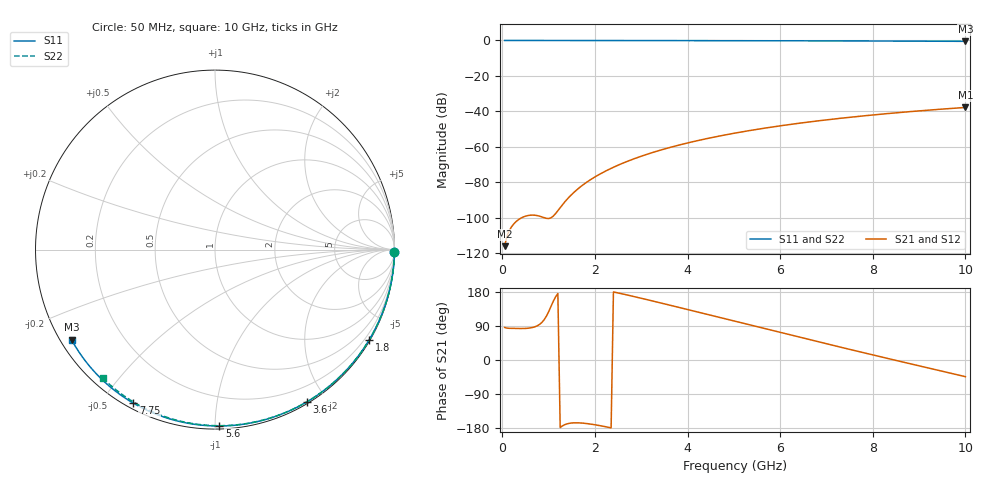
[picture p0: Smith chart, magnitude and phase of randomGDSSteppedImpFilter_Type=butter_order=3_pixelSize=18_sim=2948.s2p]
! freq	dB(S11)	phase(S11)	dB(S12)	phase(S12)
!  dB(S21)	phase(S21)	dB(S22)	phase(S22)
!S-par simulation data
#  GHz  S  DB  R 50
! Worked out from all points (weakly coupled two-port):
!   200 points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, 50 MHz to 10 GHz, reference 50 ohm
!   highest |S21| = -37.83 dB at 10 GHz (marker M1); lowest = -116.2 dB at 50 MHz (marker M2)
!   lowest |S11| = -0.5 dB at 10 GHz (marker M3), VSWR 34.65, Z = 1.56 - j14.4 ohm
!   |S11| at or under -10 dB: nowhere
!   |S22| runs from -0.4 to 0.0 dB; largest |S21 - S12| = 0
!   S11 on the Smith chart (normalised r, x): 50 MHz: open; 1.8 GHz: 0.03, -3.70; 3.6 GHz: 0.02, -1.77; 5.6 GHz: 0.02, -1.03; 7.75 GHz: 0.02, -0.60; 10 GHz: 0.03, -0.29
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0.05  -0.00 -0.9  -116.18 85.9  -116.18 85.9  -0.00 -0.8
0.45  -0.01 -7.7  -99.73 83.1  -99.73 83.1  -0.01 -6.8
0.9  -0.02 -15.3  -100.08 105.6  -100.08 105.6  -0.02 -13.6
1.75  -0.04 -29.4  -81.42 -166.7  -81.42 -166.7  -0.03 -26.1
1.8  -0.04 -30.2  -80.47 -167.4  -80.47 -167.4  -0.03 -26.9
1.85  -0.04 -31.0  -79.57 -168.1  -79.57 -168.1  -0.04 -27.6
2.05  -0.04 -34.3  -76.31 -171.9  -76.31 -171.9  -0.04 -30.5
2.2  -0.05 -36.7  -74.18 -175.3  -74.18 -175.3  -0.04 -32.7
2.55  -0.05 -42.4  -69.88 175.6  -69.88 175.6  -0.05 -37.8
2.95  -0.06 -48.8  -65.84 164.4  -65.84 164.4  -0.06 -43.5
3.4  -0.07 -55.8  -62.05 151.2  -62.05 151.2  -0.07 -49.8
3.6  -0.08 -58.9  -60.57 145.2  -60.57 145.2  -0.07 -52.6
4.3  -0.10 -69.6  -56.09 124.1  -56.09 124.1  -0.09 -62.1
5.05  -0.12 -80.7  -52.20 101.3  -52.20 101.3  -0.11 -72.1
5.6  -0.15 -88.6  -49.79 84.7  -49.79 84.7  -0.13 -79.1
6.15  -0.17 -96.3  -47.67 68.1  -47.67 68.1  -0.15 -86.1
6.7  -0.20 -103.9  -45.79 51.7  -45.79 51.7  -0.18 -92.9
7.2  -0.23 -110.7  -44.25 36.9  -44.25 36.9  -0.21 -98.9
7.75  -0.27 -118.0  -42.73 20.7  -42.73 20.7  -0.24 -105.4
8.35  -0.32 -126.0  -41.23 3.3  -41.23 3.3  -0.29 -112.4
9.2  -0.41 -137.2  -39.36 -21.1  -39.36 -21.1  -0.36 -122.1
10  -0.50 -147.8  -37.83 -43.9  -37.83 -43.9  -0.44 -131.1
